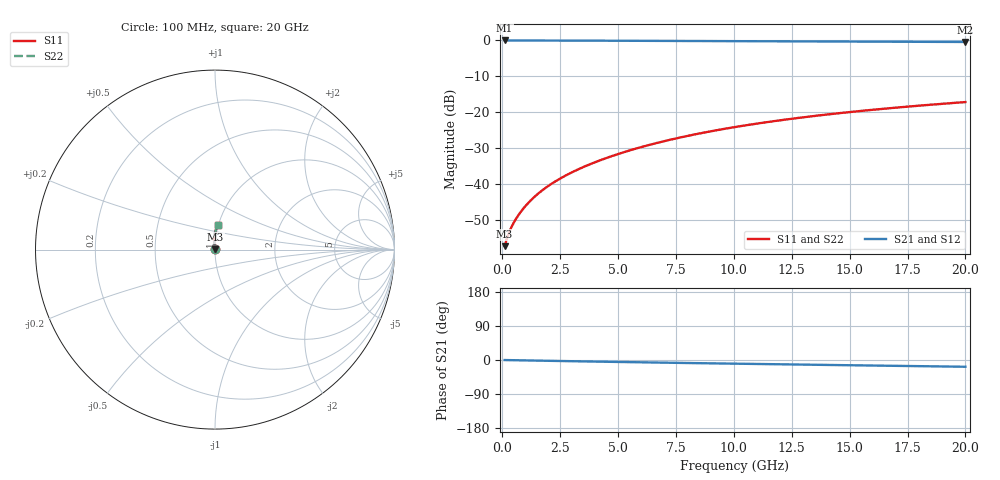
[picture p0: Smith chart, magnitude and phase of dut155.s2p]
! Touchstone file exported from HFSS 2024.1.0
!  File:  C:/UserFiles/LocalFiles/RDL_TSV_Batchsim/temp_RDL_top_155_1778685254.aedt
!  Generated:  11:16:16 PM May 13, 2026
!  Design:  RDL_top
!  Project:  temp_RDL_top_155_1778685254
!  Setup:  Setup1
!  Solution:  Sweep
! Variables:
!  dtsv = 10.80580581um
!  hbump = 3um
!  htsv = 89.37um
!  ldown = 100um
!  lrdl = 269.89um
!  p = 40
!  p1 = 43.75um
!  rhole = 1um
!  t = 450um
!  tdown = 3.915915916um
!  trdl = 3.53um
!  wdown = 15.38538539um
!  wrdl = 28.43um
# GHz S MA R 50.000000
! Terminal data exported
! Port[1] = Box2_T1
! Port[2] = Box2_T2
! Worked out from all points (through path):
!   200 points, 100 MHz to 20 GHz, reference 50 ohm
!   highest |S21| = -0.01 dB at 100 MHz (marker M1); lowest = -0.4 dB at 20 GHz (marker M2)
!   group delay of S21, straight-line fit = 2.44 ps
!   lowest |S11| = -57.4 dB at 100 MHz (marker M3), VSWR 1.00, Z = 50.1 + j0.06 ohm
!   |S11| at or under -10 dB: start of sweep to end of sweep
!   |S22| runs from -57.4 to -17.2 dB; largest |S21 - S12| = 4.1e-15
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0.1  0.001355 26.2  0.9988 -0.1  0.9988 -0.1  0.001355 26.2
! Gamma 0 0 0 0
! Port Impedance 50 0 50 0
0.2  0.00173 40.9  0.9987 -0.2  0.9987 -0.2  0.00173 40.9
0.3  0.002128 49.2  0.9985 -0.3  0.9985 -0.3  0.002128 49.2
0.4  0.002515 54.9  0.9984 -0.4  0.9984 -0.4  0.002515 54.9
0.5  0.002898 59.5  0.9983 -0.6  0.9983 -0.6  0.002899 59.5
0.8  0.004083 69.1  0.9981 -0.9  0.9981 -0.9  0.004083 69.1
1  0.004912 73.5  0.9979 -1.1  0.9979 -1.1  0.004912 73.5
1.2  0.00577 76.9  0.9977 -1.3  0.9977 -1.3  0.00577 76.9
1.7  0.008016 82.8  0.9971 -1.8  0.9971 -1.8  0.008016 82.8
2.2  0.01039 86.6  0.9963 -2.4  0.9963 -2.4  0.01039 86.6
2.8  0.01341 89.9  0.9952 -3.0  0.9952 -3.0  0.01341 89.9
3.5  0.01717 92.5  0.9936 -3.7  0.9936 -3.7  0.01717 92.5
4.2  0.02118 94.3  0.9918 -4.4  0.9918 -4.4  0.02118 94.2
5  0.02607 95.5  0.9895 -5.2  0.9895 -5.2  0.02607 95.5
5.9  0.03192 96.2  0.9869 -6.0  0.9869 -6.0  0.03191 96.2
6.8  0.03807 96.4  0.9841 -6.9  0.9841 -6.9  0.03807 96.4
8.4  0.04961 95.8  0.9794 -8.3  0.9794 -8.3  0.0496 95.8
10.1  0.0624 94.5  0.9745 -9.8  0.9745 -9.8  0.06239 94.5
11.7  0.0747 92.8  0.9702 -11.1  0.9702 -11.1  0.07469 92.8
13.4  0.08787 90.9  0.966 -12.5  0.966 -12.5  0.08786 90.9
16.7  0.1133 87.0  0.9585 -15.2  0.9585 -15.2  0.1133 87.0
20  0.1382 83.2  0.9517 -17.8  0.9517 -17.8  0.1382 83.2
